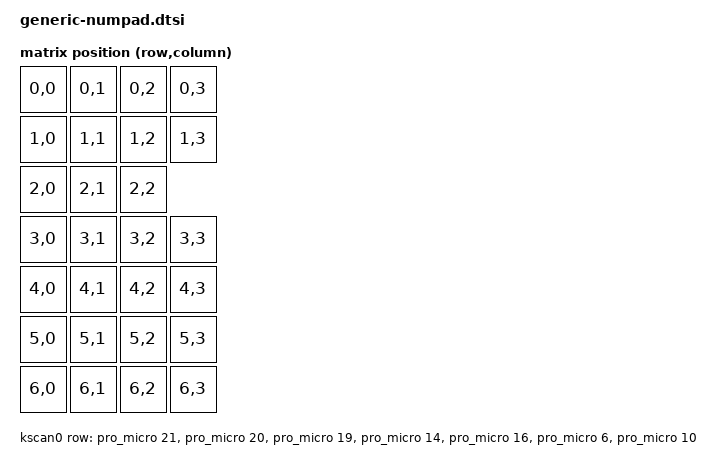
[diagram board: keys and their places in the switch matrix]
#include <dt-bindings/zmk/matrix_transform.h>

/ {
    chosen {
        zmk,kscan = &kscan0;
        zmk,matrix-transform = &default_transform;
    };

    default_transform: keymap_transform_0 {
        compatible = "zmk,matrix-transform";
        columns = <4>;
        rows = <7>;
        map = <
    RC(0,0) RC(0,1) RC(0,2) RC(0,3)
    RC(1,0) RC(1,1) RC(1,2) RC(1,3)
    RC(2,0) RC(2,1) RC(2,2)
    RC(3,0) RC(3,1) RC(3,2) RC(3,3)
    RC(4,0) RC(4,1) RC(4,2) RC(4,3)
    /* Cloned Row 0 on Backup Pin 100 (pro_micro 6) */
    RC(5,0) RC(5,1) RC(5,2) RC(5,3)
    /* Cloned Row 0 on Backup Pin 009 (pro_micro 10) */
    RC(6,0) RC(6,1) RC(6,2) RC(6,3)
        >;
    };
    kscan0: kscan {
        compatible = "zmk,kscan-gpio-matrix";

        diode-direction = "col2row";
        row-gpios
            = <&pro_micro 21 (GPIO_ACTIVE_HIGH | GPIO_PULL_DOWN)> /* Row 0: Original Pin 031 / A0 */
            , <&pro_micro 20 (GPIO_ACTIVE_HIGH | GPIO_PULL_DOWN)> /* Row 1: Pin 029 / A1 */
            , <&pro_micro 19 (GPIO_ACTIVE_HIGH | GPIO_PULL_DOWN)> /* Row 2: Pin 002 / A2 */
            , <&pro_micro 14 (GPIO_ACTIVE_HIGH | GPIO_PULL_DOWN)> /* Row 3: Pin 111 / MISO (anteriormente 115) */
            , <&pro_micro 16 (GPIO_ACTIVE_HIGH | GPIO_PULL_DOWN)> /* Row 4: Pin 010 / MOSI (anteriormente 113) */
            , <&pro_micro 6  (GPIO_ACTIVE_HIGH | GPIO_PULL_DOWN)> /* Row 5: Backup Pin 100 / D6 (Clone of Row 0) */
            , <&pro_micro 10 (GPIO_ACTIVE_HIGH | GPIO_PULL_DOWN)> /* Row 6: Backup Pin 009 / D10 (Clone of Row 0) */
            ;
    };
};
